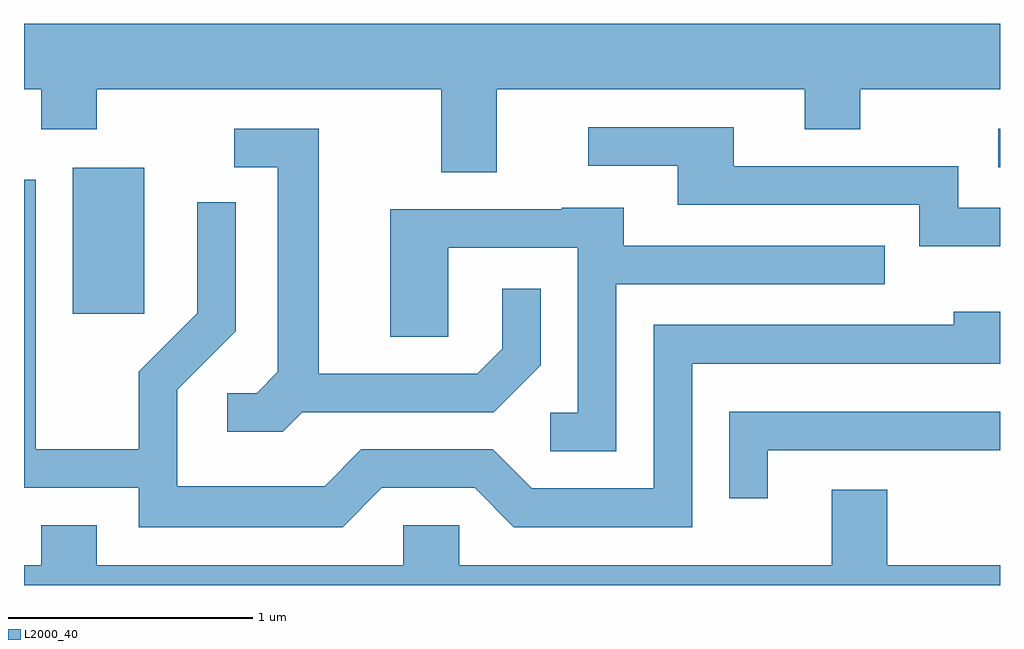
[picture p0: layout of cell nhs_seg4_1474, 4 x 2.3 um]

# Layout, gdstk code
import gdstk
lib = gdstk.Library(unit=1e-6, precision=1e-09)
def R(c, l, rs):  # rectangles x0, y0, x1, y1
    for r in rs: c.add(gdstk.rectangle(r[:2], r[2:], *l))
def P(c, l, *ps):  # polygons
    for p in ps: c.add(gdstk.Polygon(p, *l))
L2000_40 = (2000, 40)

nhs_seg4_1474 = lib.new_cell('nhs_seg4_1474')
R(nhs_seg4_1474, L2000_40, [(227.811,1347.096,228.104,1347.694), (231.603,1347.696,231.611,1347.854)])
P(nhs_seg4_1474, L2000_40, [(229.549,1348.016),(230.811,1348.016),(230.811,1347.851),(231.039,1347.851),(231.039,1348.016),(231.611,1348.016),(231.611,1348.284),(227.611,1348.284),(227.611,1348.016),(227.681,1348.016),(227.681,1347.851),(227.909,1347.851),(227.909,1348.016),(229.321,1348.016),(229.321,1347.676),(229.549,1347.676)],
  [(231.611,1347.529),(231.439,1347.529),(231.439,1347.699),(230.519,1347.699),(230.519,1347.859),(229.923,1347.859),(229.923,1347.701),(230.291,1347.701),(230.291,1347.541),(231.281,1347.541),(231.281,1347.371),(231.611,1347.371)],
  [(228.752,1346.691),(229.537,1346.691),(229.729,1346.884),(229.729,1347.198),(229.571,1347.198),(229.571,1346.952),(229.469,1346.849),(228.819,1346.849),(228.819,1347.854),(228.473,1347.854),(228.473,1347.696),(228.651,1347.696),(228.651,1346.857),(228.564,1346.769),(228.443,1346.769),(228.443,1346.611),(228.672,1346.611)],
  [(229.077,1346.381),(229.459,1346.381),(229.619,1346.221),(230.349,1346.221),(230.349,1346.891),(231.611,1346.891),(231.611,1347.104),(231.421,1347.104),(231.421,1347.049),(230.191,1347.049),(230.191,1346.379),(229.692,1346.379),(229.532,1346.539),(228.994,1346.539),(228.844,1346.389),(228.239,1346.389),(228.239,1346.784),(228.479,1347.024),(228.479,1347.553),(228.321,1347.553),(228.321,1347.097),(228.081,1346.857),(228.081,1346.539),(227.659,1346.539),(227.659,1347.644),(227.611,1347.644),(227.611,1346.381),(228.081,1346.381),(228.081,1346.221),(228.917,1346.221)],
  [(230.039,1347.216),(231.138,1347.216),(231.138,1347.374),(230.069,1347.374),(230.069,1347.529),(229.815,1347.529),(229.815,1347.524),(229.111,1347.524),(229.111,1347.001),(229.349,1347.001),(229.349,1347.366),(229.881,1347.366),(229.881,1346.689),(229.768,1346.689),(229.768,1346.531),(230.039,1346.531)],
  [(230.659,1346.536),(231.611,1346.536),(231.611,1346.694),(230.501,1346.694),(230.501,1346.338),(230.659,1346.338)],
  [(231.611,1346.064),(231.149,1346.064),(231.149,1346.374),(230.921,1346.374),(230.921,1346.064),(229.394,1346.064),(229.394,1346.229),(229.166,1346.229),(229.166,1346.064),(227.909,1346.064),(227.909,1346.229),(227.681,1346.229),(227.681,1346.064),(227.611,1346.064),(227.611,1345.982),(231.611,1345.982)])

lib.write_gds('nhs_seg4_1474.gds')
